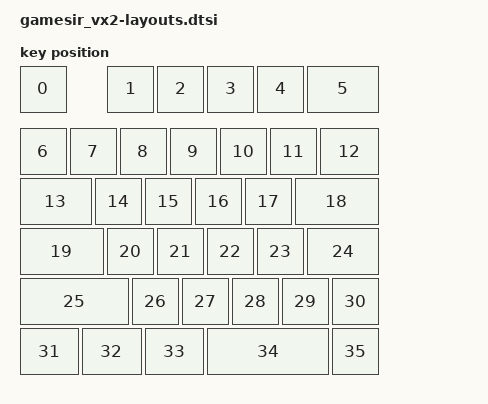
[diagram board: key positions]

#include <physical_layouts.dtsi>

/ {
    gamesir_layout: gamesir_layout {
        compatible = "zmk,physical-layout";
        display-name = "GamesirVX2"; 

        keys  //                     w   h    x    y     rot    rx    ry
            = <&key_physical_attrs 100 100    0    0       0     0     0>
            , <&key_physical_attrs 100 100  175    0       0     0     0>
            , <&key_physical_attrs 100 100  275    0       0     0     0>
            , <&key_physical_attrs 100 100  375    0       0     0     0>
            , <&key_physical_attrs 100 100  475    0       0     0     0>
            , <&key_physical_attrs 150 100  575    0       0     0     0>
            , <&key_physical_attrs 100 100    0  125       0     0     0>
            , <&key_physical_attrs 100 100  100  125       0     0     0>
            , <&key_physical_attrs 100 100  200  125       0     0     0>
            , <&key_physical_attrs 100 100  300  125       0     0     0>
            , <&key_physical_attrs 100 100  400  125       0     0     0>
            , <&key_physical_attrs 100 100  500  125       0     0     0>
            , <&key_physical_attrs 125 100  600  125       0     0     0>
            , <&key_physical_attrs 150 100    0  225       0     0     0>
            , <&key_physical_attrs 100 100  150  225       0     0     0>
            , <&key_physical_attrs 100 100  250  225       0     0     0>
            , <&key_physical_attrs 100 100  350  225       0     0     0>
            , <&key_physical_attrs 100 100  450  225       0     0     0>
            , <&key_physical_attrs 175 100  550  225       0     0     0>
            , <&key_physical_attrs 175 100    0  325       0     0     0>
            , <&key_physical_attrs 100 100  175  325       0     0     0>
            , <&key_physical_attrs 100 100  275  325       0     0     0>
            , <&key_physical_attrs 100 100  375  325       0     0     0>
            , <&key_physical_attrs 100 100  475  325       0     0     0>
            , <&key_physical_attrs 150 100  575  325       0     0     0>
            , <&key_physical_attrs 225 100    0  425       0     0     0>
            , <&key_physical_attrs 100 100  225  425       0     0     0>
            , <&key_physical_attrs 100 100  325  425       0     0     0>
            , <&key_physical_attrs 100 100  425  425       0     0     0>
            , <&key_physical_attrs 100 100  525  425       0     0     0>
            , <&key_physical_attrs 100 100  625  425       0     0     0>
            , <&key_physical_attrs 125 100    0  525       0     0     0>
            , <&key_physical_attrs 125 100  125  525       0     0     0>
            , <&key_physical_attrs 125 100  250  525       0     0     0>
            , <&key_physical_attrs 250 100  375  525       0     0     0>
            , <&key_physical_attrs 100 100  625  525       0     0     0>
            ;
    };
};
